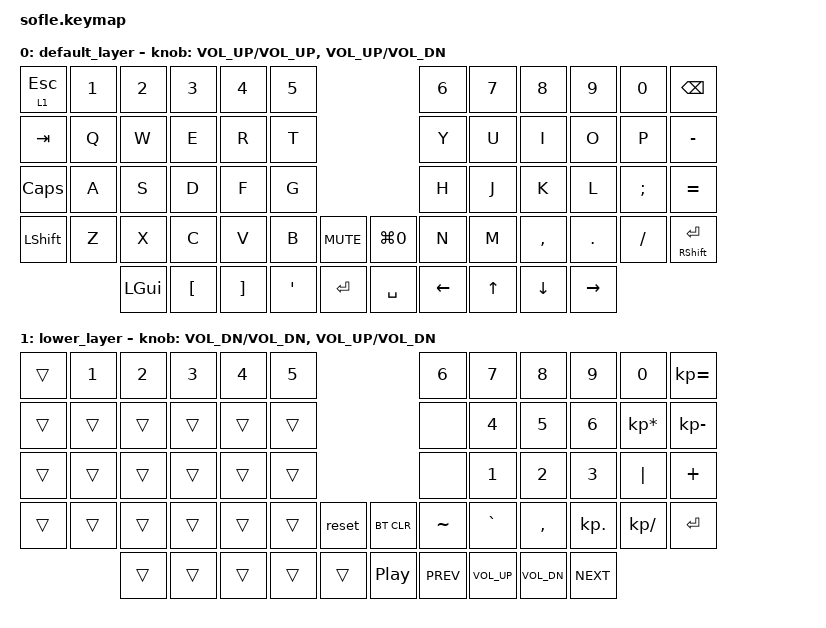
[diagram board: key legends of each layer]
#include <behaviors.dtsi>
#include <dt-bindings/zmk/keys.h>
#include <dt-bindings/zmk/bt.h>

&left_encoder { resolution = <1>;};
&right_encoder { resolution = <1>;};

/ {
    keymap {
        compatible = "zmk,keymap";
        default_layer {
// ------------------------------------------------------------------------------------------------------------
// | ESC/~1|  1  |  2  |  3   |  4   |  5   |                   |  6   |  7    |  8    |   9  |   0   | BKSPC |
// | TAB   |  Q  |  W  |  E   |  R   |  T   |                   |  Y   |  U    |  I    |   O  |   P   |   -   |
// | CAPS  |  A  |  S  |  D   |  F   |  G   |                   |  H   |  J    |  K    |   L  |   ;   |   +   |
// | SHIFT |  Z  |  X  |  C   |  V   |  B   |  MUTE  |  | CMD+0 |  N   |  M    |  ,    |  .   |   /   | RS/EN |
//               | GUI |  {   |  }   |  '   |  ENTER |  | SPACE |  <-  |  ^    |  v    |  ->  |
            bindings = <
&lt 1 ESC    &kp N1   &kp N2   &kp N3    &kp N4    &kp N5                                 &kp N6 &kp N7    &kp N8    &kp N9   &kp N0      &kp BSPC
&kp TAB      &kp Q    &kp W    &kp E     &kp R     &kp T                                  &kp Y  &kp U     &kp I     &kp O    &kp P       &kp MINUS
&kp CAPS     &kp A    &kp S    &kp D     &kp F     &kp G                                  &kp H  &kp J     &kp K     &kp L    &kp SEMI    &kp EQUAL
&kp LSHFT    &kp Z    &kp X    &kp C     &kp V     &kp B     &kp C_MUTE        &kp LG(N0) &kp N  &kp M     &kp COMMA &kp DOT  &kp FSLH    &mt RSHFT RET
                      &kp LGUI &kp LBKT  &kp RBKT  &kp SQT   &kp RET           &kp SPACE  &kp LEFT &kp UP  &kp DOWN  &kp RIGHT
          >;

           sensor-bindings = <&inc_dec_cp C_VOL_UP C_VOL_UP &inc_dec_cp C_VOL_UP C_VOL_DN>;
        };

        lower_layer {
// TODO: Some binds are waiting for shifted keycode support.
// ------------------------------------------------------------------------------------------------------------
// |       |  1  |  2  |  3   |  4   |  5   |                   |   6  |  7   |  8   |   9  |    0  |   =   |
// |       |     |     |      |      |      |                   |      |  4   |  5   |   6  |    *  |   -   |
// |       |     |     |      |      |      |                   |      |  1   |  2   |   3  |    |  |   +   |
// |       |     |     |      |      |      |  RESET |  |BT CLR |   ~  |  `   |  ,   |   .  |    /  | ENTER |
//               |     |      |      |      |        |  | PLAY  |PREV  | CMD+ | CMD- | NEXT |
            bindings = <
&trans    &kp N1    &kp N2    &kp N3      &kp N4    &kp N5                      &kp N6       &kp N7       &kp N8        &kp N9       &kp N0           &kp KP_EQUAL
&trans    &trans    &trans    &trans      &trans    &trans                      &none        &kp N4       &kp N5        &kp N6       &kp KP_MULTIPLY  &kp KP_MINUS
&trans    &trans    &trans    &trans      &trans    &trans                      &none        &kp N1       &kp N2        &kp N3       &kp PIPE         &kp PLUS
&trans    &trans    &trans    &trans      &trans    &trans    &reset   &bt BT_CLR   &kp TILDE    &kp GRAVE    &kp COMMA     &kp KP_DOT   &kp KP_DIVIDE    &kp RET
                    &trans    &trans      &trans    &trans    &trans   &kp C_PP &kp C_PREV   &kp C_VOL_UP &kp C_VOL_DN &kp C_NEXT
            >;
            
            sensor-bindings = <&inc_dec_cp C_VOL_DN C_VOL_DN &inc_dec_cp C_VOL_UP C_VOL_DN>;
        };
    };
};
